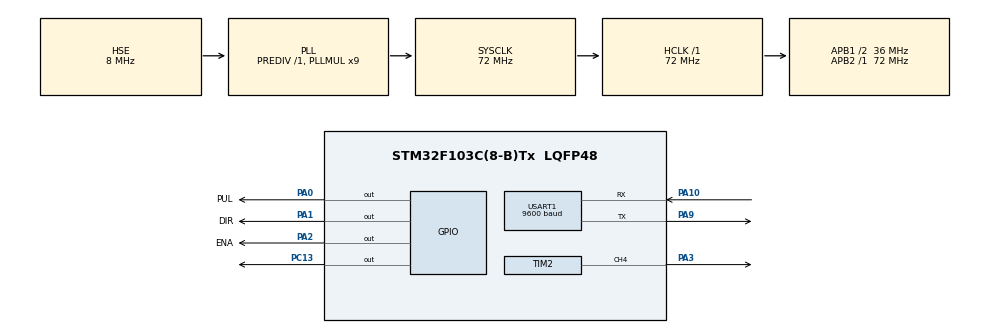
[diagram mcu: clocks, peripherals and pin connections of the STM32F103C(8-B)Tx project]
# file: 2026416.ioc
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Mcu.Family=STM32F1
Mcu.Name=STM32F103C(8-B)Tx
Mcu.Package=LQFP48
NVIC.PriorityGroup=NVIC_PRIORITYGROUP_4
PA0-WKUP.GPIO_Label=PUL
PA0-WKUP.GPIO_ModeDefaultOutputPP=GPIO_MODE_OUTPUT_OD
PA0-WKUP.GPIO_PuPd=GPIO_NOPULL
PA0-WKUP.GPIO_Speed=GPIO_SPEED_FREQ_HIGH
PA0-WKUP.PinState=GPIO_PIN_SET
PA0-WKUP.Signal=GPIO_Output
PA1.GPIO_Label=DIR
PA1.GPIO_ModeDefaultOutputPP=GPIO_MODE_OUTPUT_OD
PA1.GPIO_PuPd=GPIO_NOPULL
PA1.GPIO_Speed=GPIO_SPEED_FREQ_HIGH
PA1.PinState=GPIO_PIN_SET
PA1.Signal=GPIO_Output
PA10.Mode=Asynchronous
PA10.Signal=USART1_RX
PA13.Mode=Serial_Wire
PA13.Signal=SYS_JTMS-SWDIO
PA14.Mode=Serial_Wire
PA14.Signal=SYS_JTCK-SWCLK
PA2.GPIO_Label=ENA
PA2.GPIO_ModeDefaultOutputPP=GPIO_MODE_OUTPUT_OD
PA2.GPIO_PuPd=GPIO_NOPULL
PA2.GPIO_Speed=GPIO_SPEED_FREQ_HIGH
PA2.PinState=GPIO_PIN_SET
PA2.Signal=GPIO_Output
PA3.Signal=S_TIM2_CH4
PA9.Mode=Asynchronous
PA9.Signal=USART1_TX
PC13-TAMPER-RTC.PinState=GPIO_PIN_SET
PC13-TAMPER-RTC.Signal=GPIO_Output
PD0-OSC_IN.Mode=HSE-External-Oscillator
PD0-OSC_IN.Signal=RCC_OSC_IN
PD1-OSC_OUT.Mode=HSE-External-Oscillator
PD1-OSC_OUT.Signal=RCC_OSC_OUT
ProjectManager.HeapSize=0x200
ProjectManager.StackSize=0x400
ProjectManager.TargetToolchain=MDK-ARM V5.32
RCC.AHBFreq_Value=72000000
RCC.APB1CLKDivider=RCC_HCLK_DIV2
RCC.APB1Freq_Value=36000000
RCC.APB1TimFreq_Value=72000000
RCC.APB2Freq_Value=72000000
RCC.APB2TimFreq_Value=72000000
RCC.HCLKFreq_Value=72000000
RCC.PLLMUL=RCC_PLL_MUL9
RCC.PLLSourceVirtual=RCC_PLLSOURCE_HSE
RCC.SYSCLKFreq_VALUE=72000000
RCC.SYSCLKSource=RCC_SYSCLKSOURCE_PLLCLK
RCC.USBFreq_Value=72000000
SH.S_TIM2_CH4.0=TIM2_CH4,PWM Generation4 CH4
TIM2.Channel-PWM\ Generation4\ CH4=TIM_CHANNEL_4
TIM2.Period=19999
TIM2.Prescaler=71
USART1.BaudRate=9600
USART1.VirtualMode=VM_ASYNC
VP_TIM2_VS_ClockSourceINT.Mode=Internal
board=custom

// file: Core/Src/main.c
/* USER CODE BEGIN Header */
/**
  * MG90S/SG90 参考 CSDN 113447204：20ms PWM，0.5ms~2.5ms 对应 0~180度
  * 信号线 -> PA3 (TIM2_CH4)
  */
/* USER CODE END Header */

#include "main.h"
#include "tim.h"
#include "usart.h"
#include "gpio.h"

/* USER CODE BEGIN PD */
/* 与文章一致：0.5ms=0度, 1.5ms=90度, 2.5ms=180度 */
#define SERVO_MIN_US           500U
#define SERVO_MAX_US           2500U
#define SERVO_NEUTRAL_US       1500U
#define SERVO_HOME_ANGLE       0U
#define SERVO_ACTIVE_ANGLE     70U
#define SERVO_BOOT_SETTLE_MS   600U
#define SERVO_SIGNAL_TIMEOUT_MS 200U
/* USER CODE END PD */

void SystemClock_Config(void);

/* USER CODE BEGIN PV */
typedef enum { SERVO_HOME = 0, SERVO_ACTIVE = 1 } ServoRun_t;

volatile uint8_t uart_rx_byte = 0;
volatile uint8_t uart_rx_flag = 0;

static ServoRun_t servo_run = SERVO_HOME;
static uint8_t servo_signal_live = 0;
static uint32_t servo_last_r_tick = 0;
static uint16_t servo_pulse_us = 0;
/* USER CODE END PV */

/* USER CODE BEGIN 0 */
static uint16_t Servo_UsFromAngle(uint8_t angle)
{
  if (angle > 180U) angle = 180U;
  return (uint16_t)(SERVO_MIN_US +
                    ((uint32_t)angle * (SERVO_MAX_US - SERVO_MIN_US)) / 180U);
}

static void Servo_SetUs(uint16_t us)
{
  if (us < SERVO_MIN_US) us = SERVO_MIN_US;
  if (us > SERVO_MAX_US) us = SERVO_MAX_US;
  if (us == servo_pulse_us) return;
  servo_pulse_us = us;
  __HAL_TIM_SET_COMPARE(&htim2, TIM_CHANNEL_4, us);
}

static void Servo_SetAngle(uint8_t angle)
{
  Servo_SetUs(Servo_UsFromAngle(angle));
}

static void Servo_Init(void)
{
  /* 先 90 度中位再开 PWM，避免一上电就用 0 度顶死限位乱转 */
  Servo_SetUs(SERVO_NEUTRAL_US);
  HAL_TIM_PWM_Start(&htim2, TIM_CHANNEL_4);
  HAL_Delay(SERVO_BOOT_SETTLE_MS);

  Servo_SetAngle(SERVO_HOME_ANGLE);
  HAL_Delay(SERVO_BOOT_SETTLE_MS);
  servo_run = SERVO_HOME;
  servo_signal_live = 0;
  servo_last_r_tick = 0;
}

static void Servo_GoHome(void)
{
  if (servo_run == SERVO_HOME) return;
  Servo_SetAngle(SERVO_HOME_ANGLE);
  servo_run = SERVO_HOME;
}

static void Servo_GoActive(void)
{
  if (servo_run == SERVO_ACTIVE) return;
  Servo_SetAngle(SERVO_ACTIVE_ANGLE);
  servo_run = SERVO_ACTIVE;
}

static void Servo_OnR(void)
{
  servo_signal_live = 1;
  servo_last_r_tick = HAL_GetTick();
  Servo_GoActive();
}

static void Servo_Task(void)
{
  if (!servo_signal_live) return;
  if ((HAL_GetTick() - servo_last_r_tick) >= SERVO_SIGNAL_TIMEOUT_MS)
  {
    servo_signal_live = 0;
    Servo_GoHome();
  }
}
/* USER CODE END 0 */

int main(void)
{
  HAL_Init();
  SystemClock_Config();
  MX_GPIO_Init();
  MX_USART1_UART_Init();
  MX_TIM2_Init();

  Servo_Init();
  HAL_UART_Receive_IT(&huart1, &uart_rx_byte, 1);

  while (1)
  {
    if (uart_rx_flag)
    {
      uart_rx_flag = 0;
      if (uart_rx_byte == 'R') Servo_OnR();
    }
    Servo_Task();
  }
}

void SystemClock_Config(void)
{
  RCC_OscInitTypeDef RCC_OscInitStruct = {0};
  RCC_ClkInitTypeDef RCC_ClkInitStruct = {0};

  RCC_OscInitStruct.OscillatorType = RCC_OSCILLATORTYPE_HSE;
  RCC_OscInitStruct.HSEState = RCC_HSE_ON;
  RCC_OscInitStruct.HSEPredivValue = RCC_HSE_PREDIV_DIV1;
  RCC_OscInitStruct.HSIState = RCC_HSI_ON;
  RCC_OscInitStruct.PLL.PLLState = RCC_PLL_ON;
  RCC_OscInitStruct.PLL.PLLSource = RCC_PLLSOURCE_HSE;
  RCC_OscInitStruct.PLL.PLLMUL = RCC_PLL_MUL9;
  if (HAL_RCC_OscConfig(&RCC_OscInitStruct) != HAL_OK) Error_Handler();

  RCC_ClkInitStruct.ClockType = RCC_CLOCKTYPE_HCLK | RCC_CLOCKTYPE_SYSCLK
                              | RCC_CLOCKTYPE_PCLK1 | RCC_CLOCKTYPE_PCLK2;
  RCC_ClkInitStruct.SYSCLKSource = RCC_SYSCLKSOURCE_PLLCLK;
  RCC_ClkInitStruct.AHBCLKDivider = RCC_SYSCLK_DIV1;
  RCC_ClkInitStruct.APB1CLKDivider = RCC_HCLK_DIV2;
  RCC_ClkInitStruct.APB2CLKDivider = RCC_HCLK_DIV1;
  if (HAL_RCC_ClockConfig(&RCC_ClkInitStruct, FLASH_LATENCY_2) != HAL_OK) Error_Handler();
}

void Error_Handler(void)
{
  __disable_irq();
  while (1) { }
}

/* USER CODE BEGIN 4 */
void HAL_UART_RxCpltCallback(UART_HandleTypeDef *huart)
{
  if (huart->Instance == USART1)
  {
    uart_rx_flag = 1;
    HAL_UART_Receive_IT(&huart1, &uart_rx_byte, 1);
  }
}
/* USER CODE END 4 */
